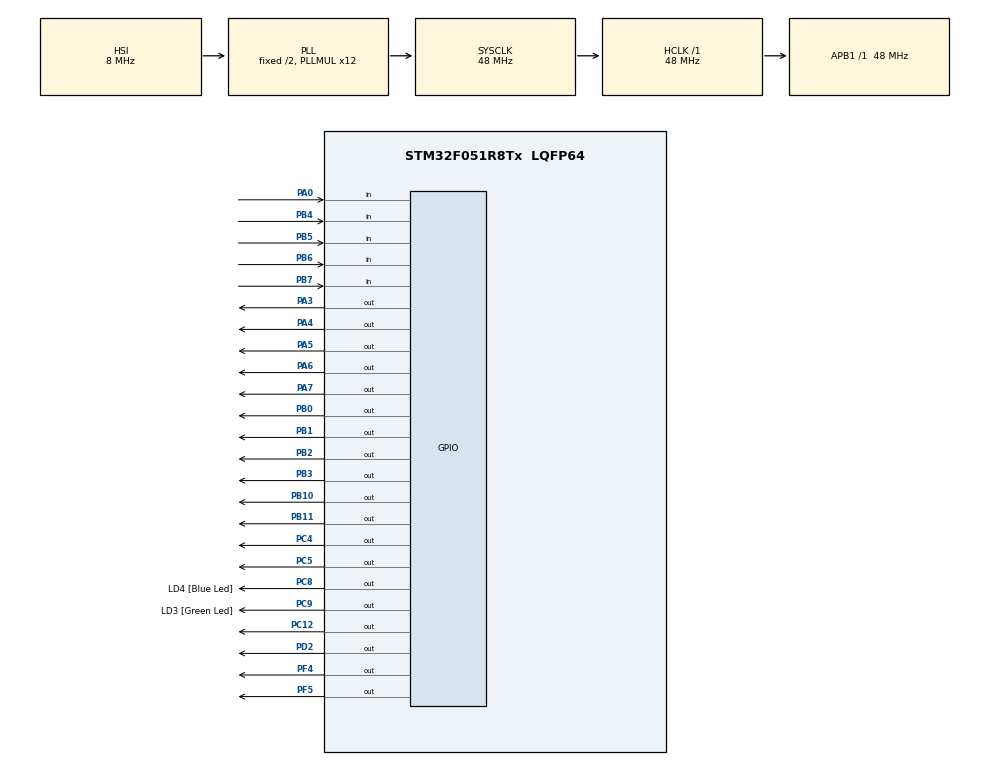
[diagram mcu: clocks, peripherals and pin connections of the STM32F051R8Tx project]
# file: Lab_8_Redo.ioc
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Mcu.Family=STM32F0
Mcu.Name=STM32F051R8Tx
Mcu.Package=LQFP64
NVIC.TIM1_BRK_UP_TRG_COM_IRQn=true\:0\:0\:false\:false\:true\:true
PA0.Signal=GPIO_Input
PA13.GPIO_Label=SWDIO
PA13.Signal=SYS_SWDIO
PA14.GPIO_Label=SWCLK
PA14.Signal=SYS_SWCLK
PA3.Signal=GPIO_Output
PA4.Signal=GPIO_Output
PA5.Signal=GPIO_Output
PA6.Signal=GPIO_Output
PA7.Signal=GPIO_Output
PB0.Signal=GPIO_Output
PB1.Signal=GPIO_Output
PB10.Signal=GPIO_Output
PB11.Signal=GPIO_Output
PB2.Signal=GPIO_Output
PB3.Signal=GPIO_Output
PB4.Signal=GPIO_Input
PB5.Signal=GPIO_Input
PB6.Signal=GPIO_Input
PB7.Signal=GPIO_Input
PC12.Signal=GPIO_Output
PC4.Signal=GPIO_Output
PC5.Signal=GPIO_Output
PC8.GPIO_Label=LD4 [Blue Led]
PC8.Signal=GPIO_Output
PC9.GPIO_Label=LD3 [Green Led]
PC9.Signal=GPIO_Output
PD2.Signal=GPIO_Output
PF4.Signal=GPIO_Output
PF5.Signal=GPIO_Output
ProjectManager.HeapSize=0x200
ProjectManager.StackSize=0x400
ProjectManager.TargetToolchain=SW4STM32
RCC.AHBFreq_Value=48000000
RCC.APB1Freq_Value=48000000
RCC.APB1TimFreq_Value=48000000
RCC.HCLKFreq_Value=48000000
RCC.PLLMUL=RCC_PLL_MUL12
RCC.SYSCLKFreq_VALUE=48000000
RCC.SYSCLKSource=RCC_SYSCLKSOURCE_PLLCLK
TIM1.Period=1
TIM1.Prescaler=7999
VP_TIM1_VS_ClockSourceINT.Mode=Internal
board=STM32F0DISCOVERY

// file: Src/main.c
/**
  ******************************************************************************
  * File Name          : main.c
  * Description        : Main program body
  ******************************************************************************
  ** This notice applies to any and all portions of this file
  * that are not between comment pairs USER CODE BEGIN and
  * USER CODE END. Other portions of this file, whether
  * inserted by the user or by software development tools
  * are owned by their respective copyright owners.
  *
  * COPYRIGHT(c) 2018 STMicroelectronics
  *
  * Redistribution and use in source and binary forms, with or without modification,
  * are permitted provided that the following conditions are met:
  *   1. Redistributions of source code must retain the above copyright notice,
  *      this list of conditions and the following disclaimer.
  *   2. Redistributions in binary form must reproduce the above copyright notice,
  *      this list of conditions and the following disclaimer in the documentation
  *      and/or other materials provided with the distribution.
  *   3. Neither the name of STMicroelectronics nor the names of its contributors
  *      may be used to endorse or promote products derived from this software
  *      without specific prior written permission.
  *
  * THIS SOFTWARE IS PROVIDED BY THE COPYRIGHT HOLDERS AND CONTRIBUTORS "AS IS"
  * AND ANY EXPRESS OR IMPLIED WARRANTIES, INCLUDING, BUT NOT LIMITED TO, THE
  * IMPLIED WARRANTIES OF MERCHANTABILITY AND FITNESS FOR A PARTICULAR PURPOSE ARE
  * DISCLAIMED. IN NO EVENT SHALL THE COPYRIGHT HOLDER OR CONTRIBUTORS BE LIABLE
  * FOR ANY DIRECT, INDIRECT, INCIDENTAL, SPECIAL, EXEMPLARY, OR CONSEQUENTIAL
  * DAMAGES (INCLUDING, BUT NOT LIMITED TO, PROCUREMENT OF SUBSTITUTE GOODS OR
  * SERVICES; LOSS OF USE, DATA, OR PROFITS; OR BUSINESS INTERRUPTION) HOWEVER
  * CAUSED AND ON ANY THEORY OF LIABILITY, WHETHER IN CONTRACT, STRICT LIABILITY,
  * OR TORT (INCLUDING NEGLIGENCE OR OTHERWISE) ARISING IN ANY WAY OUT OF THE USE
  * OF THIS SOFTWARE, EVEN IF ADVISED OF THE POSSIBILITY OF SUCH DAMAGE.
  *
  ******************************************************************************
  */

#include "main.h"
#include "stm32f0xx_hal.h"

TIM_HandleTypeDef htim1;

/* USER CODE BEGIN PV */
/* Private variables ---------------------------------------------------------*/
int btnPress = 0;
volatile int btnCurrent[12] = {1, 1, 1, 1, 1, 1, 1, 1, 1, 1, 1, 1};
volatile int btnPrevious[12] = {1, 1, 1, 1, 1, 1, 1, 1, 1, 1, 1, 1};
int button;
int colNum = 1;
int sum = 0;
volatile int inputNum = 0;
int mappedBtn;
int tenPower = 0;
int buttonState[12];

/* USER CODE END PV */

void SystemClock_Config(void);
static void MX_GPIO_Init(void);
static void MX_TIM1_Init(void);

/* USER CODE BEGIN PFP */
/* Private function prototypes -----------------------------------------------*/
void writeDigit(int number);
void matrixDebounce(void);
int btnDebounce(int butPos);
int mapButton(int btn);
/* USER CODE END PFP */

int main(void) {

    /* MCU Configuration----------------------------------------------------------*/

    /* Reset of all peripherals, Initializes the Flash interface and the Systick. */
    HAL_Init();

    /* Configure the system clock */
    SystemClock_Config();

    /* Initialize all configured peripherals */
    MX_GPIO_Init();
    MX_TIM1_Init();

    /* USER CODE BEGIN 2 */
    HAL_TIM_Base_Start_IT(&htim1);
    /* USER CODE END 2 */

    /* Infinite loop */
    /* USER CODE BEGIN WHILE */
    while (1) {
        matrixDebounce();
        int x = 0;
        while (x <= 11) {
            if (buttonState[x] == 1) {
                buttonState[x] = 0;
                if (x == 9 || x == 11) {
                    if (x == 9) {
                        sum += inputNum;
                    } else if (x == 11) {
                        sum = 0;
                        inputNum = 0;
                    }
                    writeDigit(sum);
                    tenPower = 0;
                } else if (x != 9 && x != 11) {
                    mappedBtn = mapButton(x);
                    if (tenPower == 0) {
                        inputNum = mappedBtn;
                    } else {
                        for (int j = 1; j <= tenPower; j++) {
                            inputNum = (inputNum * 10) + mappedBtn;
                        }
                    }
                    writeDigit(inputNum);
                    tenPower++;
                }
            }
            x++;
        }
    }
    /* USER CODE END WHILE */

}

/** System Clock Configuration
*/
void SystemClock_Config(void)
{

  RCC_OscInitTypeDef RCC_OscInitStruct;
  RCC_ClkInitTypeDef RCC_ClkInitStruct;

    /**Initializes the CPU, AHB and APB busses clocks
    */
  RCC_OscInitStruct.OscillatorType = RCC_OSCILLATORTYPE_HSI;
  RCC_OscInitStruct.HSIState = RCC_HSI_ON;
  RCC_OscInitStruct.HSICalibrationValue = 16;
  RCC_OscInitStruct.PLL.PLLState = RCC_PLL_ON;
  RCC_OscInitStruct.PLL.PLLSource = RCC_PLLSOURCE_HSI;
  RCC_OscInitStruct.PLL.PLLMUL = RCC_PLL_MUL12;
  RCC_OscInitStruct.PLL.PREDIV = RCC_PREDIV_DIV1;
  if (HAL_RCC_OscConfig(&RCC_OscInitStruct) != HAL_OK)
  {
    _Error_Handler(__FILE__, __LINE__);
  }

    /**Initializes the CPU, AHB and APB busses clocks
    */
  RCC_ClkInitStruct.ClockType = RCC_CLOCKTYPE_HCLK|RCC_CLOCKTYPE_SYSCLK
                              |RCC_CLOCKTYPE_PCLK1;
  RCC_ClkInitStruct.SYSCLKSource = RCC_SYSCLKSOURCE_PLLCLK;
  RCC_ClkInitStruct.AHBCLKDivider = RCC_SYSCLK_DIV1;
  RCC_ClkInitStruct.APB1CLKDivider = RCC_HCLK_DIV1;

  if (HAL_RCC_ClockConfig(&RCC_ClkInitStruct, FLASH_LATENCY_1) != HAL_OK)
  {
    _Error_Handler(__FILE__, __LINE__);
  }

    /**Configure the Systick interrupt time
    */
  HAL_SYSTICK_Config(HAL_RCC_GetHCLKFreq()/1000);

    /**Configure the Systick
    */
  HAL_SYSTICK_CLKSourceConfig(SYSTICK_CLKSOURCE_HCLK);

  /* SysTick_IRQn interrupt configuration */
  HAL_NVIC_SetPriority(SysTick_IRQn, 0, 0);
}

/* TIM1 init function */
static void MX_TIM1_Init(void)
{

  TIM_ClockConfigTypeDef sClockSourceConfig;
  TIM_MasterConfigTypeDef sMasterConfig;

  htim1.Instance = TIM1;
  htim1.Init.Prescaler = 7999;
  htim1.Init.CounterMode = TIM_COUNTERMODE_UP;
  htim1.Init.Period = 1;
  htim1.Init.ClockDivision = TIM_CLOCKDIVISION_DIV1;
  htim1.Init.RepetitionCounter = 0;
  htim1.Init.AutoReloadPreload = TIM_AUTORELOAD_PRELOAD_DISABLE;
  if (HAL_TIM_Base_Init(&htim1) != HAL_OK)
  {
    _Error_Handler(__FILE__, __LINE__);
  }

  sClockSourceConfig.ClockSource = TIM_CLOCKSOURCE_INTERNAL;
  if (HAL_TIM_ConfigClockSource(&htim1, &sClockSourceConfig) != HAL_OK)
  {
    _Error_Handler(__FILE__, __LINE__);
  }

  sMasterConfig.MasterOutputTrigger = TIM_TRGO_RESET;
  sMasterConfig.MasterSlaveMode = TIM_MASTERSLAVEMODE_DISABLE;
  if (HAL_TIMEx_MasterConfigSynchronization(&htim1, &sMasterConfig) != HAL_OK)
  {
    _Error_Handler(__FILE__, __LINE__);
  }

}

/** Configure pins as
        * Analog
        * Input
        * Output
        * EVENT_OUT
        * EXTI
*/
static void MX_GPIO_Init(void)
{

  GPIO_InitTypeDef GPIO_InitStruct;

  /* GPIO Ports Clock Enable */
  __HAL_RCC_GPIOA_CLK_ENABLE();
  __HAL_RCC_GPIOF_CLK_ENABLE();
  __HAL_RCC_GPIOC_CLK_ENABLE();
  __HAL_RCC_GPIOB_CLK_ENABLE();
  __HAL_RCC_GPIOD_CLK_ENABLE();

  /*Configure GPIO pin Output Level */
  HAL_GPIO_WritePin(GPIOA, GPIO_PIN_3|GPIO_PIN_4|GPIO_PIN_5|GPIO_PIN_6
                          |GPIO_PIN_7, GPIO_PIN_RESET);

  /*Configure GPIO pin Output Level */
  HAL_GPIO_WritePin(GPIOF, GPIO_PIN_4|GPIO_PIN_5, GPIO_PIN_RESET);

  /*Configure GPIO pin Output Level */
  HAL_GPIO_WritePin(GPIOC, GPIO_PIN_4|GPIO_PIN_5|LD4_Pin|LD3_Pin
                          |GPIO_PIN_12, GPIO_PIN_RESET);

  /*Configure GPIO pin Output Level */
  HAL_GPIO_WritePin(GPIOB, GPIO_PIN_0|GPIO_PIN_1|GPIO_PIN_2|GPIO_PIN_10
                          |GPIO_PIN_11|GPIO_PIN_3, GPIO_PIN_RESET);

  /*Configure GPIO pin Output Level */
  HAL_GPIO_WritePin(GPIOD, GPIO_PIN_2, GPIO_PIN_RESET);

  /*Configure GPIO pin : PA0 */
  GPIO_InitStruct.Pin = GPIO_PIN_0;
  GPIO_InitStruct.Mode = GPIO_MODE_INPUT;
  GPIO_InitStruct.Pull = GPIO_NOPULL;
  HAL_GPIO_Init(GPIOA, &GPIO_InitStruct);

  /*Configure GPIO pins : PA3 PA4 PA5 PA6
                           PA7 */
  GPIO_InitStruct.Pin = GPIO_PIN_3|GPIO_PIN_4|GPIO_PIN_5|GPIO_PIN_6
                          |GPIO_PIN_7;
  GPIO_InitStruct.Mode = GPIO_MODE_OUTPUT_PP;
  GPIO_InitStruct.Pull = GPIO_NOPULL;
  GPIO_InitStruct.Speed = GPIO_SPEED_FREQ_LOW;
  HAL_GPIO_Init(GPIOA, &GPIO_InitStruct);

  /*Configure GPIO pins : PF4 PF5 */
  GPIO_InitStruct.Pin = GPIO_PIN_4|GPIO_PIN_5;
  GPIO_InitStruct.Mode = GPIO_MODE_OUTPUT_PP;
  GPIO_InitStruct.Pull = GPIO_NOPULL;
  GPIO_InitStruct.Speed = GPIO_SPEED_FREQ_LOW;
  HAL_GPIO_Init(GPIOF, &GPIO_InitStruct);

  /*Configure GPIO pins : PC4 PC5 LD4_Pin LD3_Pin
                           PC12 */
  GPIO_InitStruct.Pin = GPIO_PIN_4|GPIO_PIN_5|LD4_Pin|LD3_Pin
                          |GPIO_PIN_12;
  GPIO_InitStruct.Mode = GPIO_MODE_OUTPUT_PP;
  GPIO_InitStruct.Pull = GPIO_NOPULL;
  GPIO_InitStruct.Speed = GPIO_SPEED_FREQ_LOW;
  HAL_GPIO_Init(GPIOC, &GPIO_InitStruct);

  /*Configure GPIO pins : PB0 PB1 PB2 PB10
                           PB11 PB3 */
  GPIO_InitStruct.Pin = GPIO_PIN_0|GPIO_PIN_1|GPIO_PIN_2|GPIO_PIN_10
                          |GPIO_PIN_11|GPIO_PIN_3;
  GPIO_InitStruct.Mode = GPIO_MODE_OUTPUT_PP;
  GPIO_InitStruct.Pull = GPIO_NOPULL;
  GPIO_InitStruct.Speed = GPIO_SPEED_FREQ_LOW;
  HAL_GPIO_Init(GPIOB, &GPIO_InitStruct);

  /*Configure GPIO pin : PD2 */
  GPIO_InitStruct.Pin = GPIO_PIN_2;
  GPIO_InitStruct.Mode = GPIO_MODE_OUTPUT_PP;
  GPIO_InitStruct.Pull = GPIO_NOPULL;
  GPIO_InitStruct.Speed = GPIO_SPEED_FREQ_LOW;
  HAL_GPIO_Init(GPIOD, &GPIO_InitStruct);

  /*Configure GPIO pins : PB4 PB5 PB6 PB7 */
  GPIO_InitStruct.Pin = GPIO_PIN_4|GPIO_PIN_5|GPIO_PIN_6|GPIO_PIN_7;
  GPIO_InitStruct.Mode = GPIO_MODE_INPUT;
  GPIO_InitStruct.Pull = GPIO_NOPULL;
  HAL_GPIO_Init(GPIOB, &GPIO_InitStruct);

}

/* USER CODE BEGIN 4 */
void writeDigit(int number) {
    int ones, tens; // 1's and 10's variables of input number

    // Determine 1's and 10's
    ones = number % 10;
    tens = ((number - ones) / 10) % 10;

    // Reset the Pins
    HAL_GPIO_WritePin(GPIOB,
    GPIO_PIN_11 | GPIO_PIN_10 | GPIO_PIN_2 | GPIO_PIN_1 | GPIO_PIN_0,
            GPIO_PIN_RESET);
    HAL_GPIO_WritePin(GPIOC, GPIO_PIN_5 | GPIO_PIN_4, GPIO_PIN_RESET);
    HAL_GPIO_WritePin(GPIOA,
    GPIO_PIN_7 | GPIO_PIN_6 | GPIO_PIN_5 | GPIO_PIN_4 | GPIO_PIN_3,
            GPIO_PIN_RESET);
    HAL_GPIO_WritePin(GPIOF, GPIO_PIN_5 | GPIO_PIN_4, GPIO_PIN_RESET);

    // Display 1's and 10's on respective 7-segment display
    if (tens == 0) {
        HAL_GPIO_WritePin(GPIOB,
        GPIO_PIN_11 | GPIO_PIN_10 | GPIO_PIN_2 | GPIO_PIN_1 | GPIO_PIN_0,
                GPIO_PIN_SET);
        HAL_GPIO_WritePin(GPIOC, GPIO_PIN_5, GPIO_PIN_SET);
    } else if (tens == 1) {
        HAL_GPIO_WritePin(GPIOB,
        GPIO_PIN_10 | GPIO_PIN_2, GPIO_PIN_SET);
    } else if (tens == 2) {
        HAL_GPIO_WritePin(GPIOB,
        GPIO_PIN_11 | GPIO_PIN_10 | GPIO_PIN_1 | GPIO_PIN_0,
                GPIO_PIN_SET);
        HAL_GPIO_WritePin(GPIOC, GPIO_PIN_4, GPIO_PIN_SET);
    } else if (tens == 3) {
        HAL_GPIO_WritePin(GPIOB,
        GPIO_PIN_11 | GPIO_PIN_10 | GPIO_PIN_2 | GPIO_PIN_1, GPIO_PIN_SET);
        HAL_GPIO_WritePin(GPIOC, GPIO_PIN_4, GPIO_PIN_SET);
    } else if (tens == 4) {
        HAL_GPIO_WritePin(GPIOB,
        GPIO_PIN_10 | GPIO_PIN_2, GPIO_PIN_SET);
        HAL_GPIO_WritePin(GPIOC, GPIO_PIN_5 | GPIO_PIN_4, GPIO_PIN_SET);
    } else if (tens == 5) {
        HAL_GPIO_WritePin(GPIOB,
        GPIO_PIN_11 | GPIO_PIN_2 | GPIO_PIN_1, GPIO_PIN_SET);
        HAL_GPIO_WritePin(GPIOC, GPIO_PIN_5 | GPIO_PIN_4, GPIO_PIN_SET);
    } else if (tens == 6) {
        HAL_GPIO_WritePin(GPIOB,
        GPIO_PIN_11 | GPIO_PIN_2 | GPIO_PIN_1 | GPIO_PIN_0, GPIO_PIN_SET);
        HAL_GPIO_WritePin(GPIOC, GPIO_PIN_5 | GPIO_PIN_4, GPIO_PIN_SET);
    } else if (tens == 7) {
        HAL_GPIO_WritePin(GPIOB,
        GPIO_PIN_11 | GPIO_PIN_10 | GPIO_PIN_2, GPIO_PIN_SET);
    } else if (tens == 8) {
        HAL_GPIO_WritePin(GPIOB,
        GPIO_PIN_11 | GPIO_PIN_10 | GPIO_PIN_2 | GPIO_PIN_1 | GPIO_PIN_0,
                GPIO_PIN_SET);
        HAL_GPIO_WritePin(GPIOC, GPIO_PIN_5 | GPIO_PIN_4, GPIO_PIN_SET);
    } else if (tens == 9) {
        HAL_GPIO_WritePin(GPIOB,
        GPIO_PIN_11 | GPIO_PIN_10 | GPIO_PIN_2 | GPIO_PIN_1, GPIO_PIN_SET);
        HAL_GPIO_WritePin(GPIOC, GPIO_PIN_5 | GPIO_PIN_4, GPIO_PIN_SET);
    }

    if (ones == 0) {
        HAL_GPIO_WritePin(GPIOA,
        GPIO_PIN_7 | GPIO_PIN_6 | GPIO_PIN_5 | GPIO_PIN_4,
                GPIO_PIN_SET);
        HAL_GPIO_WritePin(GPIOF, GPIO_PIN_5 | GPIO_PIN_4, GPIO_PIN_SET);
    } else if (ones == 1) {
        HAL_GPIO_WritePin(GPIOA,
        GPIO_PIN_6 | GPIO_PIN_5,
                GPIO_PIN_SET);
    } else if (ones == 2) {
        HAL_GPIO_WritePin(GPIOA,
        GPIO_PIN_7 | GPIO_PIN_6 | GPIO_PIN_4 | GPIO_PIN_3,
                GPIO_PIN_SET);
        HAL_GPIO_WritePin(GPIOF, GPIO_PIN_5, GPIO_PIN_SET);
    } else if (ones == 3) {
        HAL_GPIO_WritePin(GPIOA,
        GPIO_PIN_7 | GPIO_PIN_6 | GPIO_PIN_5 | GPIO_PIN_4 | GPIO_PIN_3,
                GPIO_PIN_SET);
    } else if (ones == 4) {
        HAL_GPIO_WritePin(GPIOA,
        GPIO_PIN_6 | GPIO_PIN_5 | GPIO_PIN_3,
                GPIO_PIN_SET);
        HAL_GPIO_WritePin(GPIOF, GPIO_PIN_4, GPIO_PIN_SET);
    } else if (ones == 5) {
        HAL_GPIO_WritePin(GPIOA,
        GPIO_PIN_7 | GPIO_PIN_5 | GPIO_PIN_4 | GPIO_PIN_3,
                GPIO_PIN_SET);
        HAL_GPIO_WritePin(GPIOF, GPIO_PIN_4, GPIO_PIN_SET);
    } else if (ones == 6) {
        HAL_GPIO_WritePin(GPIOA,
        GPIO_PIN_7 | GPIO_PIN_5 | GPIO_PIN_4 | GPIO_PIN_3,
                GPIO_PIN_SET);
        HAL_GPIO_WritePin(GPIOF, GPIO_PIN_5 | GPIO_PIN_4, GPIO_PIN_SET);
    } else if (ones == 7) {
        HAL_GPIO_WritePin(GPIOA,
        GPIO_PIN_7 | GPIO_PIN_6 | GPIO_PIN_5,
                GPIO_PIN_SET);
    } else if (ones == 8) {
        HAL_GPIO_WritePin(GPIOA,
        GPIO_PIN_7 | GPIO_PIN_6 | GPIO_PIN_5 | GPIO_PIN_4 | GPIO_PIN_3,
                GPIO_PIN_SET);
        HAL_GPIO_WritePin(GPIOF, GPIO_PIN_5 | GPIO_PIN_4, GPIO_PIN_SET);
    } else if (ones == 9) {
        HAL_GPIO_WritePin(GPIOA,
        GPIO_PIN_7 | GPIO_PIN_6 | GPIO_PIN_5 | GPIO_PIN_4 | GPIO_PIN_3,
                GPIO_PIN_SET);
        HAL_GPIO_WritePin(GPIOF, GPIO_PIN_4, GPIO_PIN_SET);
    }
}

void matrixDebounce(void) {
    HAL_GPIO_WritePin(GPIOB, GPIO_PIN_3, GPIO_PIN_RESET);
    HAL_GPIO_WritePin(GPIOD, GPIO_PIN_2, GPIO_PIN_SET);
    HAL_GPIO_WritePin(GPIOC, GPIO_PIN_12, GPIO_PIN_SET);

    btnCurrent[0] = HAL_GPIO_ReadPin(GPIOB, GPIO_PIN_7);
    btnCurrent[3] = HAL_GPIO_ReadPin(GPIOB, GPIO_PIN_6);
    btnCurrent[6] = HAL_GPIO_ReadPin(GPIOB, GPIO_PIN_5);
    btnCurrent[9] = HAL_GPIO_ReadPin(GPIOB, GPIO_PIN_4);

    HAL_GPIO_WritePin(GPIOB, GPIO_PIN_3, GPIO_PIN_SET);
    HAL_GPIO_WritePin(GPIOD, GPIO_PIN_2, GPIO_PIN_RESET);
    HAL_GPIO_WritePin(GPIOC, GPIO_PIN_12, GPIO_PIN_SET);

    btnCurrent[1] = HAL_GPIO_ReadPin(GPIOB, GPIO_PIN_7);
    btnCurrent[4] = HAL_GPIO_ReadPin(GPIOB, GPIO_PIN_6);
    btnCurrent[7] = HAL_GPIO_ReadPin(GPIOB, GPIO_PIN_5);
    btnCurrent[10] = HAL_GPIO_ReadPin(GPIOB, GPIO_PIN_4);

    HAL_GPIO_WritePin(GPIOB, GPIO_PIN_3, GPIO_PIN_SET);
    HAL_GPIO_WritePin(GPIOD, GPIO_PIN_2, GPIO_PIN_SET);
    HAL_GPIO_WritePin(GPIOC, GPIO_PIN_12, GPIO_PIN_RESET);

    btnCurrent[2] = HAL_GPIO_ReadPin(GPIOB, GPIO_PIN_7);
    btnCurrent[5] = HAL_GPIO_ReadPin(GPIOB, GPIO_PIN_6);
    btnCurrent[8] = HAL_GPIO_ReadPin(GPIOB, GPIO_PIN_5);
    btnCurrent[11] = HAL_GPIO_ReadPin(GPIOB, GPIO_PIN_4);
}

int btnDebounce(int butPos) {
    if ((btnPrevious[butPos] == 1) & (btnCurrent[butPos] == 0)) {
        btnPrevious[butPos] = btnCurrent[butPos];
        return 1;
    } else {
        btnPrevious[butPos] = btnCurrent[butPos];
        return 0;
    }
}

int mapButton(int btn) {
    int mappedVal;

    if(btn == 10) {
        mappedVal = 0;
    } else {
        mappedVal = btn + 1;
    }

    return mappedVal;
}

//extern void TIM1_BRK_UP_TRG_COM_IRQHandler() {
//    TIM1->SR &= ~(TIM_SR_UIF);
//
//    matrixDebounce(colNum);
//
//    if (colNum == 3) {
//        colNum = 1;
//    } else {
//        colNum++;
//    }
//
//    btnPress = btnDebounce(button);
//    btnPrevious = btnCurrent;
//}

/* USER CODE END 4 */

void _Error_Handler(char * file, int line)
{
  while(1)
  {
  }
}

/************************ (C) COPYRIGHT STMicroelectronics *****END OF FILE****/
